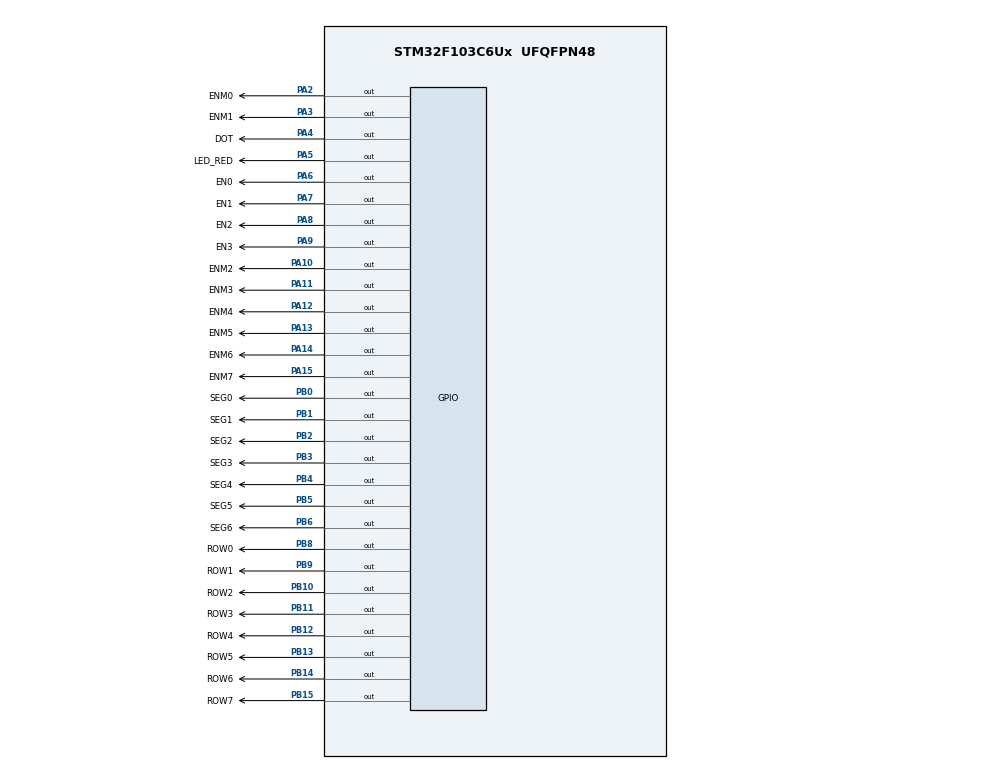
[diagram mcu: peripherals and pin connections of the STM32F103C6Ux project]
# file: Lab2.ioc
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Mcu.Family=STM32F1
Mcu.Name=STM32F103C6Ux
Mcu.Package=UFQFPN48
NVIC.PriorityGroup=NVIC_PRIORITYGROUP_4
NVIC.TIM2_IRQn=true\:0\:0\:false\:false\:true\:true\:true
PA10.GPIO_Label=ENM2
PA10.Signal=GPIO_Output
PA11.GPIO_Label=ENM3
PA11.Signal=GPIO_Output
PA12.GPIO_Label=ENM4
PA12.Signal=GPIO_Output
PA13.GPIO_Label=ENM5
PA13.Signal=GPIO_Output
PA14.GPIO_Label=ENM6
PA14.Signal=GPIO_Output
PA15.GPIO_Label=ENM7
PA15.Signal=GPIO_Output
PA2.GPIO_Label=ENM0
PA2.Signal=GPIO_Output
PA3.GPIO_Label=ENM1
PA3.Signal=GPIO_Output
PA4.GPIO_Label=DOT
PA4.Signal=GPIO_Output
PA5.GPIO_Label=LED_RED
PA5.Signal=GPIO_Output
PA6.GPIO_Label=EN0
PA6.Signal=GPIO_Output
PA7.GPIO_Label=EN1
PA7.Signal=GPIO_Output
PA8.GPIO_Label=EN2
PA8.Signal=GPIO_Output
PA9.GPIO_Label=EN3
PA9.Signal=GPIO_Output
PB0.GPIO_Label=SEG0
PB0.Signal=GPIO_Output
PB1.GPIO_Label=SEG1
PB1.Signal=GPIO_Output
PB10.GPIO_Label=ROW2
PB10.Signal=GPIO_Output
PB11.GPIO_Label=ROW3
PB11.Signal=GPIO_Output
PB12.GPIO_Label=ROW4
PB12.Signal=GPIO_Output
PB13.GPIO_Label=ROW5
PB13.Signal=GPIO_Output
PB14.GPIO_Label=ROW6
PB14.Signal=GPIO_Output
PB15.GPIO_Label=ROW7
PB15.Signal=GPIO_Output
PB2.GPIO_Label=SEG2
PB2.Signal=GPIO_Output
PB3.GPIO_Label=SEG3
PB3.Signal=GPIO_Output
PB4.GPIO_Label=SEG4
PB4.Signal=GPIO_Output
PB5.GPIO_Label=SEG5
PB5.Signal=GPIO_Output
PB6.GPIO_Label=SEG6
PB6.Signal=GPIO_Output
PB8.GPIO_Label=ROW0
PB8.Signal=GPIO_Output
PB9.GPIO_Label=ROW1
PB9.Signal=GPIO_Output
ProjectManager.HeapSize=0x200
ProjectManager.StackSize=0x400
ProjectManager.TargetToolchain=STM32CubeIDE
RCC.APB1Freq_Value=8000000
RCC.APB2Freq_Value=8000000
TIM2.Period=9
TIM2.Prescaler=7999
VP_SYS_VS_ND.Mode=No_Debug
VP_TIM2_VS_ClockSourceINT.Mode=Internal
board=custom

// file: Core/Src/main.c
/* USER CODE BEGIN Header */
/**
  ******************************************************************************
  * @file           : main.c
  * @brief          : Main program body
  ******************************************************************************
  * @attention
  *
  * <h2><center>&copy; Copyright (c) 2022 STMicroelectronics.
  * All rights reserved.</center></h2>
  *
  * This software component is licensed by ST under BSD 3-Clause license,
  * the "License"; You may not use this file except in compliance with the
  * License. You may obtain a copy of the License at:
  *                        opensource.org/licenses/BSD-3-Clause
  *
  ******************************************************************************
  */
/* USER CODE END Header */
#include "main.h"

TIM_HandleTypeDef htim2;

const int MAX_LED=4;
static int index_led=0;
static int led_buffer[4]={7,5,1,2};
static int hour=15, minutes=8, second=50;

void SystemClock_Config(void);
static void MX_GPIO_Init(void);
static void MX_TIM2_Init(void);
void display7SEG(int num);
void update7SEG(int index);
void updateClockBuffer();
void update_led_matrix_buffer();

/* USER CODE BEGIN 0 */
void display7SEG(int num) {
	//0: a, b, c ,d ,e, f=0, g=1
	if (num==0) {
		HAL_GPIO_WritePin(SEG0_GPIO_Port, SEG0_Pin, GPIO_PIN_RESET);
		HAL_GPIO_WritePin(SEG1_GPIO_Port, SEG1_Pin, GPIO_PIN_RESET);
		HAL_GPIO_WritePin(SEG2_GPIO_Port, SEG2_Pin, GPIO_PIN_RESET);
		HAL_GPIO_WritePin(SEG3_GPIO_Port, SEG3_Pin, GPIO_PIN_RESET);
		HAL_GPIO_WritePin(SEG4_GPIO_Port, SEG4_Pin, GPIO_PIN_RESET);
		HAL_GPIO_WritePin(SEG5_GPIO_Port, SEG5_Pin, GPIO_PIN_RESET);
		HAL_GPIO_WritePin(SEG6_GPIO_Port, SEG6_Pin, GPIO_PIN_SET);
	}
	//1:b, c=1, others=0
	else if (num==1) {
		HAL_GPIO_WritePin(SEG0_GPIO_Port, SEG0_Pin, GPIO_PIN_SET);
		HAL_GPIO_WritePin(SEG1_GPIO_Port, SEG1_Pin, GPIO_PIN_RESET);
		HAL_GPIO_WritePin(SEG2_GPIO_Port, SEG2_Pin, GPIO_PIN_RESET);
		HAL_GPIO_WritePin(SEG3_GPIO_Port, SEG3_Pin, GPIO_PIN_SET);
		HAL_GPIO_WritePin(SEG4_GPIO_Port, SEG4_Pin, GPIO_PIN_SET);
		HAL_GPIO_WritePin(SEG5_GPIO_Port, SEG5_Pin, GPIO_PIN_SET);
		HAL_GPIO_WritePin(SEG6_GPIO_Port, SEG6_Pin, GPIO_PIN_SET);
	}
	//2:a,b,d,e,g=0, others=1
	else if (num==2) {
		HAL_GPIO_WritePin(SEG0_GPIO_Port, SEG0_Pin, GPIO_PIN_RESET);
		HAL_GPIO_WritePin(SEG1_GPIO_Port, SEG1_Pin, GPIO_PIN_RESET);
		HAL_GPIO_WritePin(SEG2_GPIO_Port, SEG2_Pin, GPIO_PIN_SET);
		HAL_GPIO_WritePin(SEG3_GPIO_Port, SEG3_Pin, GPIO_PIN_RESET);
		HAL_GPIO_WritePin(SEG4_GPIO_Port, SEG4_Pin, GPIO_PIN_RESET);
		HAL_GPIO_WritePin(SEG5_GPIO_Port, SEG5_Pin, GPIO_PIN_SET);
		HAL_GPIO_WritePin(SEG6_GPIO_Port, SEG6_Pin, GPIO_PIN_RESET);
	}
	//3:a,b,c,d,g=0, others=1
	else if (num==3) {
		HAL_GPIO_WritePin(SEG0_GPIO_Port, SEG0_Pin, GPIO_PIN_RESET);
		HAL_GPIO_WritePin(SEG1_GPIO_Port, SEG1_Pin, GPIO_PIN_RESET);
		HAL_GPIO_WritePin(SEG2_GPIO_Port, SEG2_Pin, GPIO_PIN_RESET);
		HAL_GPIO_WritePin(SEG3_GPIO_Port, SEG3_Pin, GPIO_PIN_RESET);
		HAL_GPIO_WritePin(SEG4_GPIO_Port, SEG4_Pin, GPIO_PIN_SET);
		HAL_GPIO_WritePin(SEG5_GPIO_Port, SEG5_Pin, GPIO_PIN_SET);
		HAL_GPIO_WritePin(SEG6_GPIO_Port, SEG6_Pin, GPIO_PIN_RESET);
	}
	//4:b,c,f,g=0, others=1
	else if (num==4) {
		HAL_GPIO_WritePin(SEG0_GPIO_Port, SEG0_Pin, GPIO_PIN_SET);
		HAL_GPIO_WritePin(SEG1_GPIO_Port, SEG1_Pin, GPIO_PIN_RESET);
		HAL_GPIO_WritePin(SEG2_GPIO_Port, SEG2_Pin, GPIO_PIN_RESET);
		HAL_GPIO_WritePin(SEG3_GPIO_Port, SEG3_Pin, GPIO_PIN_SET);
		HAL_GPIO_WritePin(SEG4_GPIO_Port, SEG4_Pin, GPIO_PIN_SET);
		HAL_GPIO_WritePin(SEG5_GPIO_Port, SEG5_Pin, GPIO_PIN_RESET);
		HAL_GPIO_WritePin(SEG6_GPIO_Port, SEG6_Pin, GPIO_PIN_RESET);
	}
	//5:a, c, d, f ,g=0, others=1
	else if (num==5) {
		HAL_GPIO_WritePin(SEG0_GPIO_Port, SEG0_Pin, GPIO_PIN_RESET);
		HAL_GPIO_WritePin(SEG1_GPIO_Port, SEG1_Pin, GPIO_PIN_SET);
		HAL_GPIO_WritePin(SEG2_GPIO_Port, SEG2_Pin, GPIO_PIN_RESET);
		HAL_GPIO_WritePin(SEG3_GPIO_Port, SEG3_Pin, GPIO_PIN_RESET);
		HAL_GPIO_WritePin(SEG4_GPIO_Port, SEG4_Pin, GPIO_PIN_SET);
		HAL_GPIO_WritePin(SEG5_GPIO_Port, SEG5_Pin, GPIO_PIN_RESET);
		HAL_GPIO_WritePin(SEG6_GPIO_Port, SEG6_Pin, GPIO_PIN_RESET);
	}
	//6:a, c, d , e, f, g=0, others=1
	else if (num==6) {
		HAL_GPIO_WritePin(SEG0_GPIO_Port, SEG0_Pin, GPIO_PIN_RESET);
		HAL_GPIO_WritePin(SEG1_GPIO_Port, SEG1_Pin, GPIO_PIN_SET);
		HAL_GPIO_WritePin(SEG2_GPIO_Port, SEG2_Pin, GPIO_PIN_RESET);
		HAL_GPIO_WritePin(SEG3_GPIO_Port, SEG3_Pin, GPIO_PIN_RESET);
		HAL_GPIO_WritePin(SEG4_GPIO_Port, SEG4_Pin, GPIO_PIN_RESET);
		HAL_GPIO_WritePin(SEG5_GPIO_Port, SEG5_Pin, GPIO_PIN_RESET);
		HAL_GPIO_WritePin(SEG6_GPIO_Port, SEG6_Pin, GPIO_PIN_RESET);
	}
	//7:a,b,c=0, others=1
	else if (num==7) {
		HAL_GPIO_WritePin(SEG0_GPIO_Port, SEG0_Pin, GPIO_PIN_RESET);
		HAL_GPIO_WritePin(SEG1_GPIO_Port, SEG1_Pin, GPIO_PIN_RESET);
		HAL_GPIO_WritePin(SEG2_GPIO_Port, SEG2_Pin, GPIO_PIN_RESET);
		HAL_GPIO_WritePin(SEG3_GPIO_Port, SEG3_Pin, GPIO_PIN_SET);
		HAL_GPIO_WritePin(SEG4_GPIO_Port, SEG4_Pin, GPIO_PIN_SET);
		HAL_GPIO_WritePin(SEG5_GPIO_Port, SEG5_Pin, GPIO_PIN_SET);
		HAL_GPIO_WritePin(SEG6_GPIO_Port, SEG6_Pin, GPIO_PIN_SET);
	}
	//8:all=0
	else if (num==8) {
		HAL_GPIO_WritePin(SEG0_GPIO_Port, SEG0_Pin, GPIO_PIN_RESET);
		HAL_GPIO_WritePin(SEG1_GPIO_Port, SEG1_Pin, GPIO_PIN_RESET);
		HAL_GPIO_WritePin(SEG2_GPIO_Port, SEG2_Pin, GPIO_PIN_RESET);
		HAL_GPIO_WritePin(SEG3_GPIO_Port, SEG3_Pin, GPIO_PIN_RESET);
		HAL_GPIO_WritePin(SEG4_GPIO_Port, SEG4_Pin, GPIO_PIN_RESET);
		HAL_GPIO_WritePin(SEG5_GPIO_Port, SEG5_Pin, GPIO_PIN_RESET);
		HAL_GPIO_WritePin(SEG6_GPIO_Port, SEG6_Pin, GPIO_PIN_RESET);
	}
	//9: e=1, others=0
	else if (num==9) {
		HAL_GPIO_WritePin(SEG0_GPIO_Port, SEG0_Pin, GPIO_PIN_RESET);
		HAL_GPIO_WritePin(SEG1_GPIO_Port, SEG1_Pin, GPIO_PIN_RESET);
		HAL_GPIO_WritePin(SEG2_GPIO_Port, SEG2_Pin, GPIO_PIN_RESET);
		HAL_GPIO_WritePin(SEG3_GPIO_Port, SEG3_Pin, GPIO_PIN_RESET);
		HAL_GPIO_WritePin(SEG4_GPIO_Port, SEG4_Pin, GPIO_PIN_SET);
		HAL_GPIO_WritePin(SEG5_GPIO_Port, SEG5_Pin, GPIO_PIN_RESET);
		HAL_GPIO_WritePin(SEG6_GPIO_Port, SEG6_Pin, GPIO_PIN_RESET);
	}
	//else: set all
	else {
		HAL_GPIO_WritePin(SEG0_GPIO_Port, SEG0_Pin, GPIO_PIN_SET);
		HAL_GPIO_WritePin(SEG1_GPIO_Port, SEG1_Pin, GPIO_PIN_SET);
		HAL_GPIO_WritePin(SEG2_GPIO_Port, SEG2_Pin, GPIO_PIN_SET);
		HAL_GPIO_WritePin(SEG3_GPIO_Port, SEG3_Pin, GPIO_PIN_SET);
		HAL_GPIO_WritePin(SEG4_GPIO_Port, SEG4_Pin, GPIO_PIN_SET);
		HAL_GPIO_WritePin(SEG5_GPIO_Port, SEG5_Pin, GPIO_PIN_SET);
		HAL_GPIO_WritePin(SEG6_GPIO_Port, SEG6_Pin, GPIO_PIN_SET);
	}
}

void update7SEG(int index) {
	switch (index) {
		case 0:
			HAL_GPIO_WritePin(EN1_GPIO_Port, EN1_Pin, GPIO_PIN_SET);
			HAL_GPIO_WritePin(EN2_GPIO_Port, EN2_Pin, GPIO_PIN_SET);
			HAL_GPIO_WritePin(EN3_GPIO_Port, EN3_Pin, GPIO_PIN_SET);
			display7SEG(led_buffer[0]);
			HAL_GPIO_WritePin(EN0_GPIO_Port, EN0_Pin, GPIO_PIN_RESET);
			break;

		case 1:
			HAL_GPIO_WritePin(EN0_GPIO_Port, EN0_Pin, GPIO_PIN_SET);
			HAL_GPIO_WritePin(EN2_GPIO_Port, EN2_Pin, GPIO_PIN_SET);
			HAL_GPIO_WritePin(EN3_GPIO_Port, EN3_Pin, GPIO_PIN_SET);
			display7SEG(led_buffer[1]);
			HAL_GPIO_WritePin(EN1_GPIO_Port, EN1_Pin, GPIO_PIN_RESET);
			break;

		case 2:
			HAL_GPIO_WritePin(EN0_GPIO_Port, EN0_Pin, GPIO_PIN_SET);
			HAL_GPIO_WritePin(EN1_GPIO_Port, EN1_Pin, GPIO_PIN_SET);
			HAL_GPIO_WritePin(EN3_GPIO_Port, EN3_Pin, GPIO_PIN_SET);
			display7SEG(led_buffer[2]);
			HAL_GPIO_WritePin(EN2_GPIO_Port, EN2_Pin, GPIO_PIN_RESET);
			break;

		case 3:
			HAL_GPIO_WritePin(EN0_GPIO_Port, EN0_Pin, GPIO_PIN_SET);
			HAL_GPIO_WritePin(EN1_GPIO_Port, EN1_Pin, GPIO_PIN_SET);
			HAL_GPIO_WritePin(EN2_GPIO_Port, EN2_Pin, GPIO_PIN_SET);
			display7SEG(led_buffer[3]);
			HAL_GPIO_WritePin(EN3_GPIO_Port, EN3_Pin, GPIO_PIN_RESET);
			break;
		default:
			break;
	}
}

void updateClockBuffer() {
	led_buffer[0]=hour/10;
	led_buffer[1]=hour%10;
	led_buffer[2]=minutes/10;
	led_buffer[3]=minutes%10;
}
int timer0_counter=0;
int timer0_flag=0;
int timer1_counter=0;
int timer1_flag=0;
int timer2_counter=0;
int timer2_flag=0;
int TIMER_CYCLE=10;

void setTimer0(int duration) {
	timer0_counter=duration/TIMER_CYCLE;
	timer0_flag=0;
}
void timer_run() {
	if (timer0_counter>0) {
		timer0_counter--;
		if (timer0_counter==0) timer0_flag=1;
	}
	if (timer1_counter>0) {
			timer1_counter--;
			if (timer1_counter==0) timer1_flag=1;
	}
	if (timer2_counter>0) {
			timer2_counter--;
			if (timer2_counter==0) timer2_flag=1;
	}
}

void setTimer1(int duration) {
	timer1_counter=duration/TIMER_CYCLE;
	timer1_flag=0;
}

void setTimer2(int duration) {
	timer2_counter=duration/TIMER_CYCLE;
	timer2_flag=0;
}

const int MAX_LED_MATRIX=8;
int index_led_matrix=0;

static uint8_t led_animation_buffer[3][8]={{0x18, 0x3c, 0x66, 0x66, 0x7e, 0x7e, 0x66, 0x66}, //letter A
										   {0x3e, 0x46, 0x46, 0x46, 0x3e, 0x46, 0x46, 0x3e}, //letter B
										   {0x7e, 0x7e, 0x6, 0x6, 0x6, 0x6, 0x7e, 0x7e}}; //letter C

uint8_t matrix_buffer[8];

int led_matrix_buffer_status=0;

void update_led_matrix_buffer(){
	switch (led_matrix_buffer_status) {
	case 0:
		for (int i=0;i<8;i++) {
			matrix_buffer[i]=led_animation_buffer[0][i];
		}
		led_matrix_buffer_status=1;
		setTimer2(1000);
		break;
	case 1:
		for (int i=0;i<8;i++) {
			matrix_buffer[i]=led_animation_buffer[0][i];
		}
		if (timer2_flag==1) {
			led_matrix_buffer_status=2;
			setTimer2(1000);
		}
		break;
	case 2:
		for (int i=0;i<8;i++) {
			matrix_buffer[i]=led_animation_buffer[1][i];
		}
		if (timer2_flag==1) {
			led_matrix_buffer_status=3;
			setTimer2(1000);
		}
		break;
	case 3:
		for (int i=0;i<8;i++) {
			matrix_buffer[i]=led_animation_buffer[2][i];
		}
		if (timer2_flag==1) {
			led_matrix_buffer_status=1;
			setTimer2(1000);
		}
		break;
	default:
		break;
	}
}

void updateLEDMatrix(int index) {
	switch (index) {
	case 0:
		HAL_GPIO_WritePin(GPIOA, ENM1_Pin|ENM2_Pin|ENM3_Pin|ENM4_Pin|ENM5_Pin|ENM6_Pin|ENM7_Pin, GPIO_PIN_RESET);
		HAL_GPIO_WritePin(GPIOB,  0xFF00, GPIO_PIN_RESET);
		HAL_GPIO_WritePin(GPIOB,  matrix_buffer[0]*0x100, GPIO_PIN_SET);
		HAL_GPIO_WritePin(GPIOA, ENM0_Pin, GPIO_PIN_SET);
		break;
	case 1:
		HAL_GPIO_WritePin(GPIOA, ENM0_Pin|ENM2_Pin|ENM3_Pin|ENM4_Pin|ENM5_Pin|ENM6_Pin|ENM7_Pin, GPIO_PIN_RESET);
		HAL_GPIO_WritePin(GPIOB,  0xFF00, GPIO_PIN_RESET);
		HAL_GPIO_WritePin(GPIOB,  matrix_buffer[1]*0x100, GPIO_PIN_SET);
		HAL_GPIO_WritePin(GPIOA, ENM1_Pin, GPIO_PIN_SET);
		break;
	case 2:
		HAL_GPIO_WritePin(GPIOA, ENM0_Pin|ENM1_Pin|ENM3_Pin|ENM4_Pin|ENM5_Pin|ENM6_Pin|ENM7_Pin, GPIO_PIN_RESET);
		HAL_GPIO_WritePin(GPIOB,  0xFF00, GPIO_PIN_RESET);
		HAL_GPIO_WritePin(GPIOB,  matrix_buffer[2]*0x100, GPIO_PIN_SET);
		HAL_GPIO_WritePin(GPIOA, ENM2_Pin, GPIO_PIN_SET);
		break;
	case 3:
		HAL_GPIO_WritePin(GPIOA, ENM0_Pin|ENM1_Pin|ENM2_Pin|ENM4_Pin|ENM5_Pin|ENM6_Pin|ENM7_Pin, GPIO_PIN_RESET);
		HAL_GPIO_WritePin(GPIOB,  0xFF00, GPIO_PIN_RESET);
		HAL_GPIO_WritePin(GPIOB,  matrix_buffer[3]*0x100, GPIO_PIN_SET);
		HAL_GPIO_WritePin(GPIOA, ENM3_Pin, GPIO_PIN_SET);
		break;
	case 4:
		HAL_GPIO_WritePin(GPIOA, ENM0_Pin|ENM1_Pin|ENM2_Pin|ENM3_Pin|ENM5_Pin|ENM6_Pin|ENM7_Pin, GPIO_PIN_RESET);
		HAL_GPIO_WritePin(GPIOB,  0xFF00, GPIO_PIN_RESET);
		HAL_GPIO_WritePin(GPIOB,  matrix_buffer[4]*0x100, GPIO_PIN_SET);
		HAL_GPIO_WritePin(GPIOA, ENM4_Pin, GPIO_PIN_SET);
		break;
	case 5:
		HAL_GPIO_WritePin(GPIOA, ENM0_Pin|ENM1_Pin|ENM2_Pin|ENM3_Pin|ENM4_Pin|ENM6_Pin|ENM7_Pin, GPIO_PIN_RESET);
		HAL_GPIO_WritePin(GPIOB,  0xFF00, GPIO_PIN_RESET);
		HAL_GPIO_WritePin(GPIOB,  matrix_buffer[5]*0x100, GPIO_PIN_SET);
		HAL_GPIO_WritePin(GPIOA, ENM5_Pin, GPIO_PIN_SET);
		break;
	case 6:
		HAL_GPIO_WritePin(GPIOA, ENM0_Pin|ENM1_Pin|ENM2_Pin|ENM3_Pin|ENM4_Pin|ENM5_Pin|ENM7_Pin, GPIO_PIN_RESET);
		HAL_GPIO_WritePin(GPIOB,  0xFF00, GPIO_PIN_RESET);
		HAL_GPIO_WritePin(GPIOB,  matrix_buffer[6]*0x100, GPIO_PIN_SET);
		HAL_GPIO_WritePin(GPIOA, ENM6_Pin, GPIO_PIN_SET);
		break;
	case 7:
		HAL_GPIO_WritePin(GPIOA, ENM0_Pin|ENM1_Pin|ENM2_Pin|ENM3_Pin|ENM4_Pin|ENM5_Pin|ENM6_Pin, GPIO_PIN_RESET);
		HAL_GPIO_WritePin(GPIOB,  0xFF00, GPIO_PIN_RESET);
		HAL_GPIO_WritePin(GPIOB,  matrix_buffer[7]*0x100, GPIO_PIN_SET);
		HAL_GPIO_WritePin(GPIOA, ENM7_Pin, GPIO_PIN_SET);
		break;
	default:
		break;
	}
}
/* USER CODE END 0 */

int main(void)
{

  /* MCU Configuration--------------------------------------------------------*/

  /* Reset of all peripherals, Initializes the Flash interface and the Systick. */
  HAL_Init();

  /* Configure the system clock */
  SystemClock_Config();

  /* Initialize all configured peripherals */
  MX_GPIO_Init();
  MX_TIM2_Init();
  HAL_TIM_Base_Start_IT(&htim2);

  /* Infinite loop */
  /* USER CODE BEGIN WHILE */
  setTimer0(803);
  setTimer1(805);
  while (1)
  {
	  update_led_matrix_buffer();
	  if (timer0_flag==1) {
		second++;
		if (second>=60) {
			second=0;
			minutes++;
		}
		if (minutes>=60) {
			minutes=0;
			hour++;
		}
		if (hour>=24) {
			hour=0;
		}
		updateClockBuffer();
		HAL_GPIO_TogglePin(DOT_GPIO_Port, DOT_Pin);
		HAL_GPIO_TogglePin(LED_RED_GPIO_Port, LED_RED_Pin);
		setTimer0(1000);
	  }
	  if (timer1_flag==1) {
		  index_led--;
		  if (index_led<0) index_led=3;
		  update7SEG(index_led);

		  index_led_matrix--;
		  if (index_led_matrix<0) {
			  index_led_matrix=7;
		  }
		  updateLEDMatrix(index_led_matrix);
		  setTimer1(10);
	  }

    /* USER CODE END WHILE */

  }
}

void SystemClock_Config(void)
{
  RCC_OscInitTypeDef RCC_OscInitStruct = {0};
  RCC_ClkInitTypeDef RCC_ClkInitStruct = {0};

  /** Initializes the RCC Oscillators according to the specified parameters
  * in the RCC_OscInitTypeDef structure.
  */
  RCC_OscInitStruct.OscillatorType = RCC_OSCILLATORTYPE_HSI;
  RCC_OscInitStruct.HSIState = RCC_HSI_ON;
  RCC_OscInitStruct.HSICalibrationValue = RCC_HSICALIBRATION_DEFAULT;
  RCC_OscInitStruct.PLL.PLLState = RCC_PLL_NONE;
  if (HAL_RCC_OscConfig(&RCC_OscInitStruct) != HAL_OK)
  {
    Error_Handler();
  }
  /** Initializes the CPU, AHB and APB buses clocks
  */
  RCC_ClkInitStruct.ClockType = RCC_CLOCKTYPE_HCLK|RCC_CLOCKTYPE_SYSCLK
                              |RCC_CLOCKTYPE_PCLK1|RCC_CLOCKTYPE_PCLK2;
  RCC_ClkInitStruct.SYSCLKSource = RCC_SYSCLKSOURCE_HSI;
  RCC_ClkInitStruct.AHBCLKDivider = RCC_SYSCLK_DIV1;
  RCC_ClkInitStruct.APB1CLKDivider = RCC_HCLK_DIV1;
  RCC_ClkInitStruct.APB2CLKDivider = RCC_HCLK_DIV1;

  if (HAL_RCC_ClockConfig(&RCC_ClkInitStruct, FLASH_LATENCY_0) != HAL_OK)
  {
    Error_Handler();
  }
}

static void MX_TIM2_Init(void)
{

  TIM_ClockConfigTypeDef sClockSourceConfig = {0};
  TIM_MasterConfigTypeDef sMasterConfig = {0};

  htim2.Instance = TIM2;
  htim2.Init.Prescaler = 7999;
  htim2.Init.CounterMode = TIM_COUNTERMODE_UP;
  htim2.Init.Period = 9;
  htim2.Init.ClockDivision = TIM_CLOCKDIVISION_DIV1;
  htim2.Init.AutoReloadPreload = TIM_AUTORELOAD_PRELOAD_DISABLE;
  if (HAL_TIM_Base_Init(&htim2) != HAL_OK)
  {
    Error_Handler();
  }
  sClockSourceConfig.ClockSource = TIM_CLOCKSOURCE_INTERNAL;
  if (HAL_TIM_ConfigClockSource(&htim2, &sClockSourceConfig) != HAL_OK)
  {
    Error_Handler();
  }
  sMasterConfig.MasterOutputTrigger = TIM_TRGO_RESET;
  sMasterConfig.MasterSlaveMode = TIM_MASTERSLAVEMODE_DISABLE;
  if (HAL_TIMEx_MasterConfigSynchronization(&htim2, &sMasterConfig) != HAL_OK)
  {
    Error_Handler();
  }

}

static void MX_GPIO_Init(void)
{
  GPIO_InitTypeDef GPIO_InitStruct = {0};

  /* GPIO Ports Clock Enable */
  __HAL_RCC_GPIOA_CLK_ENABLE();
  __HAL_RCC_GPIOB_CLK_ENABLE();

  /*Configure GPIO pin Output Level */
  HAL_GPIO_WritePin(GPIOA, ENM0_Pin|ENM1_Pin|DOT_Pin|LED_RED_Pin
                          |EN0_Pin|EN1_Pin|EN2_Pin|EN3_Pin
                          |ENM2_Pin|ENM3_Pin|ENM4_Pin|ENM5_Pin
                          |ENM6_Pin|ENM7_Pin, GPIO_PIN_RESET);

  /*Configure GPIO pin Output Level */
  HAL_GPIO_WritePin(GPIOB, SEG0_Pin|SEG1_Pin|SEG2_Pin|ROW2_Pin
                          |ROW3_Pin|ROW4_Pin|ROW5_Pin|ROW6_Pin
                          |ROW7_Pin|SEG3_Pin|SEG4_Pin|SEG5_Pin
                          |SEG6_Pin|ROW0_Pin|ROW1_Pin, GPIO_PIN_RESET);

  /*Configure GPIO pins : ENM0_Pin ENM1_Pin DOT_Pin LED_RED_Pin
                           EN0_Pin EN1_Pin EN2_Pin EN3_Pin
                           ENM2_Pin ENM3_Pin ENM4_Pin ENM5_Pin
                           ENM6_Pin ENM7_Pin */
  GPIO_InitStruct.Pin = ENM0_Pin|ENM1_Pin|DOT_Pin|LED_RED_Pin
                          |EN0_Pin|EN1_Pin|EN2_Pin|EN3_Pin
                          |ENM2_Pin|ENM3_Pin|ENM4_Pin|ENM5_Pin
                          |ENM6_Pin|ENM7_Pin;
  GPIO_InitStruct.Mode = GPIO_MODE_OUTPUT_PP;
  GPIO_InitStruct.Pull = GPIO_NOPULL;
  GPIO_InitStruct.Speed = GPIO_SPEED_FREQ_LOW;
  HAL_GPIO_Init(GPIOA, &GPIO_InitStruct);

  /*Configure GPIO pins : SEG0_Pin SEG1_Pin SEG2_Pin ROW2_Pin
                           ROW3_Pin ROW4_Pin ROW5_Pin ROW6_Pin
                           ROW7_Pin SEG3_Pin SEG4_Pin SEG5_Pin
                           SEG6_Pin ROW0_Pin ROW1_Pin */
  GPIO_InitStruct.Pin = SEG0_Pin|SEG1_Pin|SEG2_Pin|ROW2_Pin
                          |ROW3_Pin|ROW4_Pin|ROW5_Pin|ROW6_Pin
                          |ROW7_Pin|SEG3_Pin|SEG4_Pin|SEG5_Pin
                          |SEG6_Pin|ROW0_Pin|ROW1_Pin;
  GPIO_InitStruct.Mode = GPIO_MODE_OUTPUT_PP;
  GPIO_InitStruct.Pull = GPIO_NOPULL;
  GPIO_InitStruct.Speed = GPIO_SPEED_FREQ_LOW;
  HAL_GPIO_Init(GPIOB, &GPIO_InitStruct);

}

/* USER CODE BEGIN 4 */

void HAL_TIM_PeriodElapsedCallback ( TIM_HandleTypeDef * htim ) {
	timer_run();
}
/* USER CODE END 4 */

void Error_Handler(void)
{
  __disable_irq();
  while (1)
  {
  }
}

/************************ (C) COPYRIGHT STMicroelectronics *****END OF FILE****/
